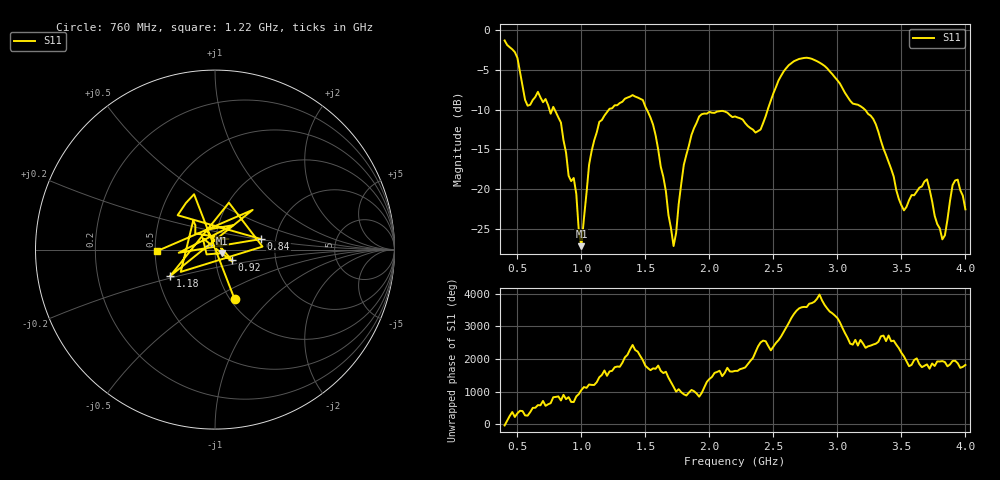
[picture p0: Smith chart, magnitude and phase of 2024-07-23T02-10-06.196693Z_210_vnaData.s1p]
!Created with skrf (http://scikit-rf.org).
# Hz S RI R 50.0
!freq ReS11 ImS11
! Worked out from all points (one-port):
!   181 points, 400 MHz to 4 GHz, reference 50 ohm
!   lowest |S11| = -27.2 dB at 1 GHz (marker M1), VSWR 1.09, Z = 54 - j2.17 ohm
!   |S11| at or under -10 dB: 791.2 MHz to 1.214 GHz (423.1 MHz wide, 42.2 % of centre); 1.511 GHz to 2.456 GHz (944.2 MHz wide, 47.6 % of centre); 3.215 GHz to end of sweep (the widest 3 of 4)
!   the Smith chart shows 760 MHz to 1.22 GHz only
!   S11 on the Smith chart (normalised r, x): 760 MHz: 1.05, -0.64; 840 MHz: 1.67, +0.21; 920 MHz: 1.20, -0.15; 1.18 GHz: 0.58, -0.19; 1.22 GHz: 0.51, -0.01
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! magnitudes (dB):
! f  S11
! 400 MHz  -1.3
! 500 MHz  -3.5
! 580 MHz  -9.5
! 760 MHz  -10.5
! 840 MHz  -11.6
! 860 MHz  -13.8
! 920 MHz  -19.0
! 960 MHz  -20.6
! 1 GHz  -27.2
! 1.06 GHz  -16.9
! 1.18 GHz  -10.7
! 1.22 GHz  -9.9
! 1.3 GHz  -9.2
! 1.54 GHz  -11.0
! 1.72 GHz  -27.2
! 1.76 GHz  -21.9
! 1.92 GHz  -10.9
! 2.2 GHz  -10.8
! 2.4 GHz  -12.5
! 2.66 GHz  -3.9
! 3.1 GHz  -8.9
! 3.28 GHz  -11.2
! 3.5 GHz  -22.0
! 3.56 GHz  -21.4
! 3.7 GHz  -18.8
! 3.82 GHz  -26.3
! 3.92 GHz  -18.9
! 4 GHz  -22.6
